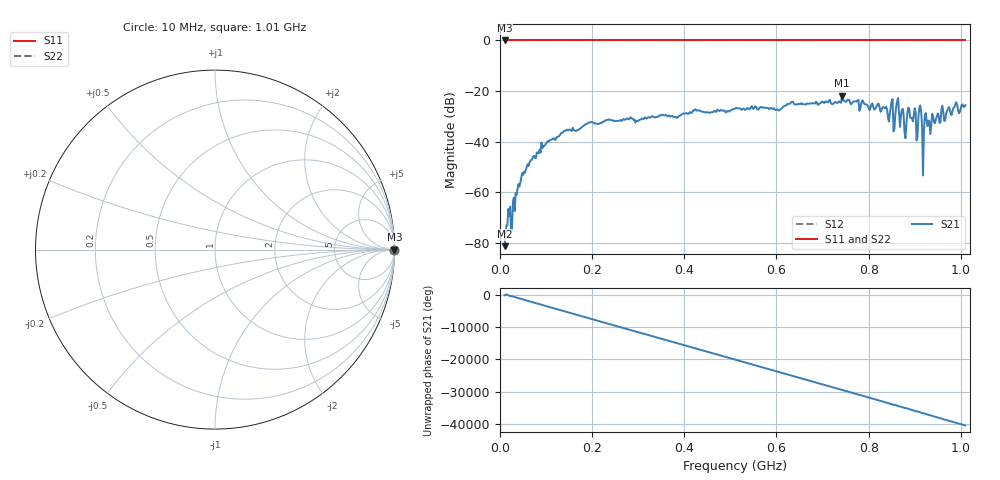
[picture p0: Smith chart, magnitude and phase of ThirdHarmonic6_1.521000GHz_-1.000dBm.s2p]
! 8/16/2025 5:57:40 PM
! C:\ANRITSUVNA\TEMP\TEMP.S2P
! CHANNEL.1
! TR.MEASUREMENT
! RAW.DATA
! RF.CORRECTION.OFF
! AVERAGING.OFF
! IF.BANDWIDTH: 5KHZ
! SWEEPTYPE:  FREQ.SWEEP(Linear)
! Reference Plane Port Info
! PORT:  PORT1  PORT2
! DISTANCE:  0  m  0  m
! TIME:  0  s  0  s
! PHASE.OFFSET:  0  deg.  0  deg.
! LOSS:  0  dB  0  dB
! REF.LOSS:  0  dB  0  dB
! REF.FREQ:  0  Hz  0  Hz
! Power Info
! POWER:  -20  dBm  -20  dBm
! EFF.POWER:  -20  dBm  -20  dBm
! SOURCE.ATTEN:  0  dB  0  dB
! TEST.ATTEN:  0  dB  0  dB
# GHZ S RI R 50.0
! FREQ.GHZ  S11RE  S11IM  S21RE  S21IM  S12RE  S12IM  S22RE  S22IM
!; PortSelection: Port_12
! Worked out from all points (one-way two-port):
!   501 points, 10 MHz to 1.01 GHz, reference 50 ohm
!   highest |S21| = -21.83 dB at 742 MHz (marker M1); lowest = -81.3 dB at 10 MHz (marker M2)
!   lowest |S11| = 0.0 dB at 10 MHz (marker M3)
!   |S11| at or under -10 dB: nowhere
!   |S22| runs from 0.0 to 0.0 dB; largest |S21 - S12| = 1.1
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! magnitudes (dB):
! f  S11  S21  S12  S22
! 10 MHz  0.0  -81.3  0.0  0.0
! 18 MHz  0.0  -66.6  0.0  0.0
! 28 MHz  0.0  -63.8  0.0  0.0
! 44 MHz  0.0  -56.3  0.0  0.0
! 70 MHz  0.0  -46.8  0.0  0.0
! 178 MHz  0.0  -34.2  0.0  0.0
! 344 MHz  0.0  -30.1  0.0  0.0
! 510 MHz  0.0  -26.9  0.0  0.0
! 678 MHz  0.0  -24.7  0.0  0.0
! 742 MHz  0.0  -21.8  0.0  0.0
! 844 MHz  0.0  -32.1  0.0  0.0
! 858 MHz  0.0  -29.1  0.0  0.0
! 862 MHz  0.0  -24.0  0.0  0.0
! 880 MHz  0.0  -38.6  0.0  0.0
! 888 MHz  0.0  -26.8  0.0  0.0
! 904 MHz  0.0  -39.6  0.0  0.0
! 912 MHz  0.0  -25.7  0.0  0.0
! 916 MHz  0.0  -34.0  0.0  0.0
! 920 MHz  0.0  -36.1  0.0  0.0
! 926 MHz  0.0  -31.9  0.0  0.0
! 932 MHz  0.0  -32.3  0.0  0.0
! 1.01 GHz  0.0  -25.6  0.0  0.0
